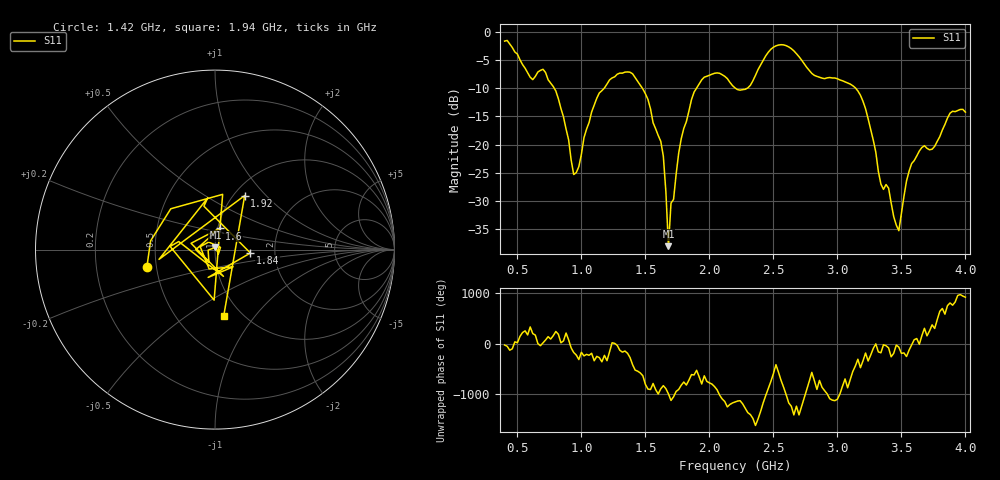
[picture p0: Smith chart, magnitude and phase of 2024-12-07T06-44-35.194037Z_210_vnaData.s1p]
!Created with skrf (http://scikit-rf.org).
# Hz S RI R 50.0
!freq ReS11 ImS11
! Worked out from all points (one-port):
!   181 points, 400 MHz to 4 GHz, reference 50 ohm
!   lowest |S11| = -38.0 dB at 1.68 GHz (marker M1), VSWR 1.03, Z = 50.2 + j1.25 ohm
!   |S11| at or under -10 dB: 787 MHz to 1.179 GHz (392.3 MHz wide, 39.9 % of centre); 1.475 GHz to 1.9 GHz (424.3 MHz wide, 25.1 % of centre); 3.142 GHz to end of sweep (the widest 3 of 4)
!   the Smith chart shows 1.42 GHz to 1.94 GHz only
!   S11 on the Smith chart (normalised r, x): 1.42 GHz: 0.44, -0.10; 1.6 GHz: 1.02, +0.24; 1.84 GHz: 1.49, -0.06; 1.92 GHz: 1.12, +0.77; 1.94 GHz: 0.82, -0.71
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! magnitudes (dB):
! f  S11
! 400 MHz  -1.7
! 620 MHz  -8.5
! 720 MHz  -7.2
! 860 MHz  -15.1
! 960 MHz  -24.9
! 1.12 GHz  -11.8
! 1.3 GHz  -7.4
! 1.42 GHz  -8.2
! 1.6 GHz  -18.4
! 1.64 GHz  -22.0
! 1.68 GHz  -38.0
! 1.7 GHz  -30.4
! 1.76 GHz  -21.5
! 1.84 GHz  -14.1
! 1.92 GHz  -9.3
! 1.94 GHz  -8.5
! 2.2 GHz  -10.0
! 2.32 GHz  -9.5
! 2.5 GHz  -2.8
! 2.66 GHz  -3.4
! 3.1 GHz  -9.3
! 3.22 GHz  -13.7
! 3.34 GHz  -27.0
! 3.4 GHz  -27.7
! 3.48 GHz  -35.2
! 3.56 GHz  -24.7
! 3.88 GHz  -14.4
! 4 GHz  -14.3
